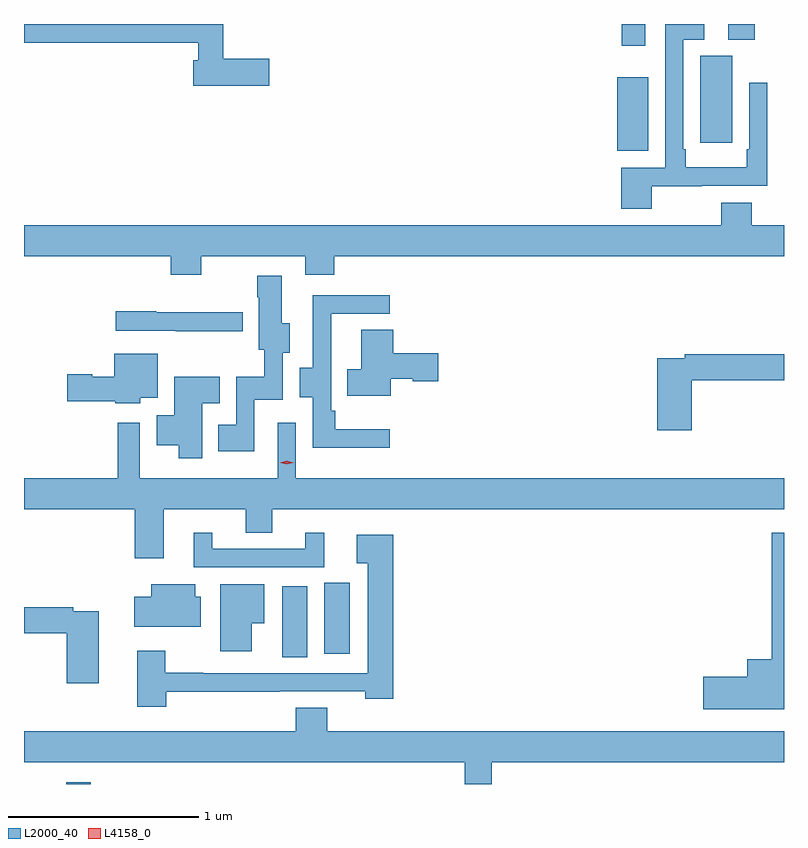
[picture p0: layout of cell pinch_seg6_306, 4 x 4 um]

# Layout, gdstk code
import gdstk
lib = gdstk.Library(unit=1e-6, precision=1e-09)
def R(c, l, rs):  # rectangles x0, y0, x1, y1
    for r in rs: c.add(gdstk.rectangle(r[:2], r[2:], *l))
def P(c, l, *ps):  # polygons
    for p in ps: c.add(gdstk.Polygon(p, *l))
L2000_40 = (2000, 40)
L4158_0 = (4158, 0)

pinch_seg6_306 = lib.new_cell('pinch_seg6_306')
R(pinch_seg6_306, L2000_40, [(684.366,964.538,684.494,964.546), (685.502,965.206,685.636,965.578), (685.724,965.223,685.858,965.598), (687.266,967.871,687.43,968.257), (687.704,967.914,687.871,968.371), (687.29,968.424,687.415,968.538), (687.851,968.456,687.991,968.538)])
P(pinch_seg6_306, L2000_40, [(687.447,967.685),(687.712,967.685),(687.712,967.686),(688.056,967.686),(688.056,968.23),(687.96,968.23),(687.96,967.879),(687.948,967.879),(687.948,967.783),(687.628,967.783),(687.628,967.879),(687.615,967.879),(687.615,968.456),(687.724,968.456),(687.724,968.538),(687.519,968.538),(687.519,967.782),(687.287,967.782),(687.287,967.566),(687.447,967.566)],
  [(685.435,968.355),(685.193,968.355),(685.193,968.538),(684.144,968.538),(684.144,968.44),(685.061,968.44),(685.061,968.347),(685.034,968.347),(685.034,968.213),(685.435,968.213)],
  [(685.077,967.316),(685.625,967.316),(685.625,967.217),(685.778,967.217),(685.778,967.316),(688.144,967.316),(688.144,967.48),(687.974,967.48),(687.974,967.597),(687.814,967.597),(687.814,967.48),(684.144,967.48),(684.144,967.316),(684.917,967.316),(684.917,967.217),(685.077,967.217)],
  [(685.356,966.56),(685.506,966.56),(685.506,966.808),(685.543,966.808),(685.543,966.963),(685.501,966.963),(685.501,967.213),(685.372,967.213),(685.372,967.1),(685.379,967.1),(685.379,966.824),(685.408,966.824),(685.408,966.682),(685.26,966.682),(685.26,966.43),(685.167,966.43),(685.167,966.29),(685.356,966.29)],
  [(686.068,966.406),(685.781,966.406),(685.781,966.502),(685.761,966.502),(685.761,966.817),(685.762,966.817),(685.762,967.014),(686.068,967.014),(686.068,967.11),(685.665,967.11),(685.665,966.729),(685.595,966.729),(685.595,966.574),(685.665,966.574),(685.665,966.308),(686.068,966.308)],
  [(685.294,967.022),(684.839,967.022),(684.839,967.025),(684.627,967.025),(684.627,966.924),(684.943,966.924),(684.943,966.922),(685.294,966.922)],
  [(686.074,966.671),(686.19,966.671),(686.19,966.659),(686.323,966.659),(686.323,966.806),(686.087,966.806),(686.087,966.929),(685.919,966.929),(685.919,966.721),(685.846,966.721),(685.846,966.581),(686.074,966.581)],
  [(684.756,966.572),(684.847,966.572),(684.847,966.802),(684.62,966.802),(684.62,966.682),(684.504,966.682),(684.504,966.695),(684.372,966.695),(684.372,966.553),(684.624,966.553),(684.624,966.542),(684.756,966.542)],
  [(687.659,966.664),(688.144,966.664),(688.144,966.8),(687.622,966.8),(687.622,966.78),(687.476,966.78),(687.476,966.399),(687.659,966.399)],
  [(685.081,966.542),(685.175,966.542),(685.175,966.682),(684.935,966.682),(684.935,966.478),(684.842,966.478),(684.842,966.32),(684.959,966.32),(684.959,966.252),(685.081,966.252)],
  [(684.88,965.984),(685.31,965.984),(685.31,965.86),(685.45,965.86),(685.45,965.984),(688.144,965.984),(688.144,966.148),(685.575,966.148),(685.575,966.439),(685.479,966.439),(685.479,966.148),(684.753,966.148),(684.753,966.439),(684.637,966.439),(684.637,966.148),(684.144,966.148),(684.144,965.984),(684.728,965.984),(684.728,965.727),(684.88,965.727)],
  [(685.723,965.86),(685.625,965.86),(685.625,965.775),(685.135,965.775),(685.135,965.86),(685.037,965.86),(685.037,965.679),(685.723,965.679)],
  [(688.144,965.86),(688.08,965.86),(688.08,965.194),(687.95,965.194),(687.95,965.102),(687.72,965.102),(687.72,964.931),(688.144,964.931)],
  [(684.893,965.024),(685.49,965.024),(685.49,965.025),(685.94,965.025),(685.94,964.988),(686.087,964.988),(686.087,965.851),(685.896,965.851),(685.896,965.699),(685.952,965.699),(685.952,965.121),(685.088,965.121),(685.088,965.124),(684.888,965.124),(684.888,965.239),(684.74,965.239),(684.74,964.944),(684.893,964.944)],
  [(685.342,965.384),(685.408,965.384),(685.408,965.59),(685.178,965.59),(685.178,965.238),(685.342,965.238)],
  [(685.075,965.524),(685.045,965.524),(685.045,965.59),(684.815,965.59),(684.815,965.524),(684.723,965.524),(684.723,965.366),(685.075,965.366)],
  [(684.538,965.448),(684.404,965.448),(684.404,965.468),(684.144,965.468),(684.144,965.332),(684.368,965.332),(684.368,965.067),(684.538,965.067)],
  [(686.605,964.652),(688.144,964.652),(688.144,964.816),(685.739,964.816),(685.739,964.94),(685.574,964.94),(685.574,964.816),(684.144,964.816),(684.144,964.652),(686.465,964.652),(686.465,964.538),(686.605,964.538)])
P(pinch_seg6_306, L4158_0, [(685.527,966.22),(685.492,966.229),(685.491,966.23),(685.492,966.23),(685.527,966.24),(685.562,966.23),(685.563,966.23),(685.562,966.229)])

lib.write_gds('pinch_seg6_306.gds')
